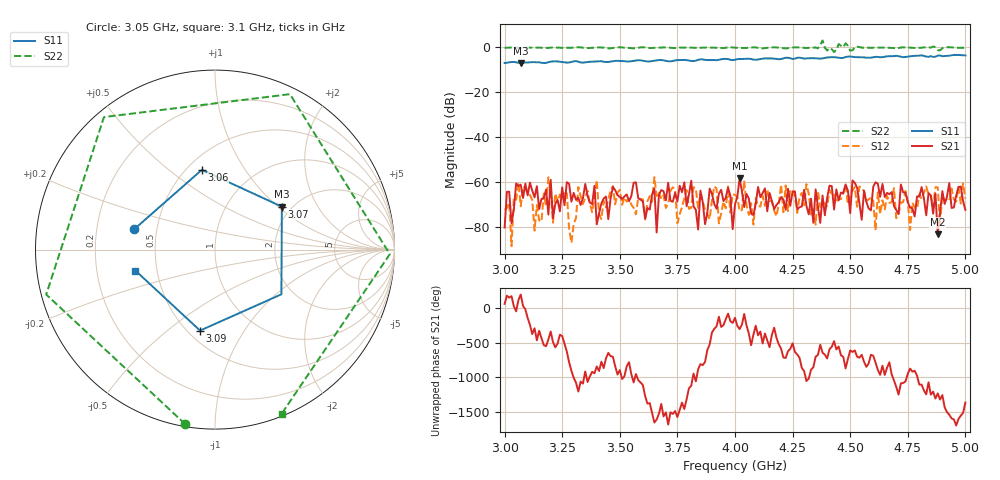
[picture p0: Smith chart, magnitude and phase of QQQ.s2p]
!Keysight Technologies N9917A: A.08.15
!Date: Sunday, 08 October 2017 10:39:42
!Timezone: (GMT-08:00) Pacific Time (US & Canada)
!Model: N9917A
!Serial: MY53102735
!GPS Latitude:
!GPS Longitude:
!GPS TimeStamp: 0001-01-01 00:00:00Z
!GPS Seconds Since Last Read: 0
!CHECKSUM:0560674840
!Correction: S11(ON U*)S21(ON U*)S12(ON U*)S22(ON U*)
!S2P File: Measurements:S11,S21,S12,S22:
# Hz S RI R 50
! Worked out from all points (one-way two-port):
!   201 points, 3 GHz to 5 GHz, reference 50 ohm
!   highest |S21| = -58.36 dB at 4.02 GHz (marker M1); lowest = -83.3 dB at 4.88 GHz (marker M2)
!   lowest |S11| = -7.1 dB at 3.07 GHz (marker M3), VSWR 2.59, Z = 89.1 + j53.1 ohm
!   |S11| at or under -10 dB: nowhere
!   |S22| runs from -2.1 to 3.0 dB; largest |S21 - S12| = 0.0017
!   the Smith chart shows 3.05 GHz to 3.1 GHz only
!   S11 on the Smith chart (normalised r, x): 3.05 GHz: 0.37, +0.11; 3.06 GHz: 0.59, +0.66; 3.07 GHz: 1.78, +1.06; 3.09 GHz: 0.57, -0.66; 3.1 GHz: 0.38, -0.11
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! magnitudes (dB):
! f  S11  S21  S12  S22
! 3 GHz  -7.0  -80.3  -72.4  -0.2
! 3.05 GHz  -6.7  -60.7  -67.9  -0.1
! 3.06 GHz  -6.9  -61.8  -60.3  -0.2
! 3.07 GHz  -7.1  -61.2  -70.8  -0.3
! 3.09 GHz  -6.8  -60.7  -62.6  -0.2
! 3.1 GHz  -6.8  -65.9  -65.3  -0.1
! 3.34 GHz  -6.8  -67.2  -69.8  -0.2
! 3.61 GHz  -6.2  -76.4  -76.7  -0.1
! 3.65 GHz  -6.0  -63.0  -57.8  -0.3
! 3.66 GHz  -5.8  -82.5  -66.3  -0.2
! 3.67 GHz  -5.7  -65.6  -64.4  -0.1
! 4 GHz  -5.5  -69.9  -65.7  -0.2
! 4.02 GHz  -5.2  -58.4  -72.9  -0.3
! 4.34 GHz  -4.8  -78.2  -72.1  -0.1
! 4.35 GHz  -4.9  -63.3  -78.9  -0.1
! 4.37 GHz  -5.0  -78.2  -71.1  1.1
! 4.41 GHz  -4.5  -61.6  -63.5  -0.3
! 4.67 GHz  -4.0  -65.4  -69.2  -0.2
! 4.88 GHz  -3.7  -83.3  -62.4  -1.3
! 4.89 GHz  -3.6  -73.5  -79.0  -1.4
! 4.93 GHz  -3.8  -60.4  -68.5  0.0
! 5 GHz  -3.6  -72.4  -67.4  -0.1
